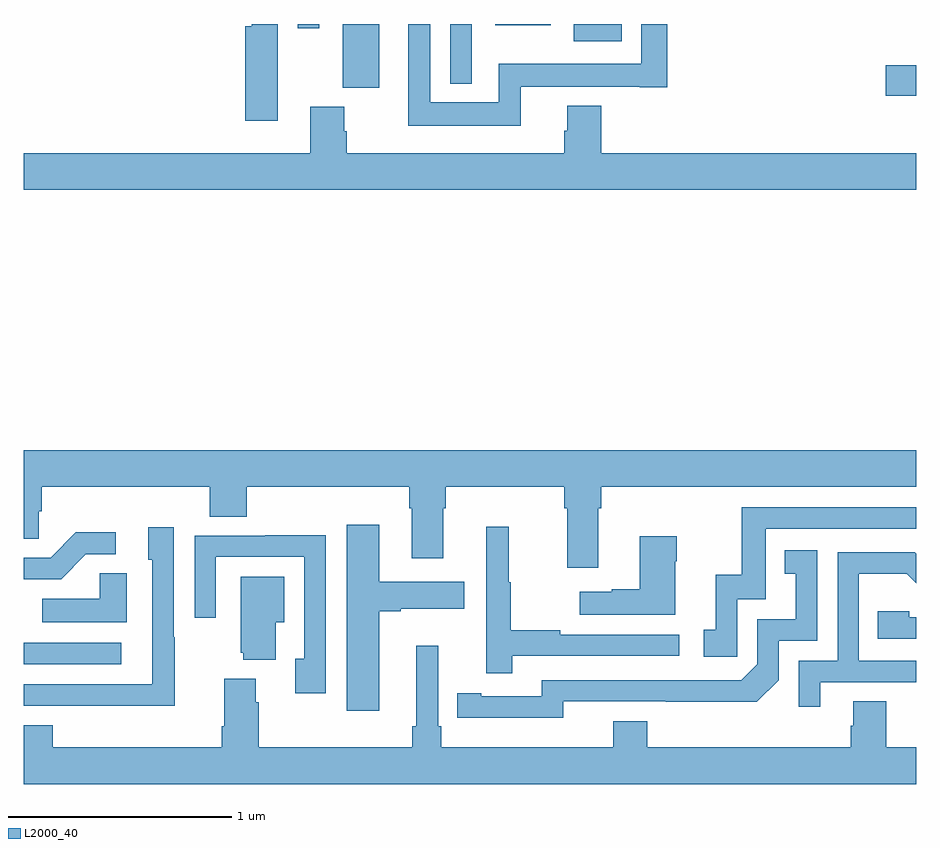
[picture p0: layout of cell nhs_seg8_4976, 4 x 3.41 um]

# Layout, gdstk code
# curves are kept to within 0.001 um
import gdstk
lib = gdstk.Library(unit=1e-6, precision=1e-09)
def R(c, l, rs):  # rectangles x0, y0, x1, y1
    for r in rs: c.add(gdstk.rectangle(r[:2], r[2:], *l))
def P(c, l, *ps):  # polygons
    for p in ps: c.add(gdstk.Polygon(p, *l))
L2000_40 = (2000, 40)

nhs_seg8_4976 = lib.new_cell('nhs_seg8_4976')
R(nhs_seg8_4976, L2000_40, [(411,1125.03,411.436,1125.126), (414.864,1127.579,415,1127.714), (412.43,1127.614,412.594,1127.9), (412.911,1127.633,413.007,1127.9), (413.465,1127.822,413.68,1127.9), (412.227,1127.88,412.323,1127.9), (413.114,1127.894,413.362,1127.9)])
P(nhs_seg8_4976, L2000_40, [(413.228,1127.618),(413.762,1127.618),(413.762,1127.616),(413.885,1127.616),(413.885,1127.9),(413.769,1127.9),(413.769,1127.722),(413.13,1127.722),(413.13,1127.548),(412.821,1127.548),(412.821,1127.9),(412.724,1127.9),(412.724,1127.444),(413.228,1127.444)],
  [(412.138,1127.786),(412.137,1127.786),(412.137,1127.9),(412.021,1127.9),(412.021,1127.89),(411.992,1127.89),(411.992,1127.466),(412.138,1127.466)],
  [(415,1127.32),(413.588,1127.32),(413.588,1127.533),(413.435,1127.533),(413.435,1127.421),(413.423,1127.421),(413.423,1127.32),(412.448,1127.32),(412.448,1127.42),(412.435,1127.42),(412.435,1127.529),(412.283,1127.529),(412.283,1127.32),(411,1127.32),(411,1127.156),(415,1127.156)],
  [(413.575,1125.728),(413.588,1125.728),(413.588,1125.824),(415,1125.824),(415,1125.988),(411,1125.988),(411,1125.592),(411.066,1125.592),(411.066,1125.715),(411.08,1125.715),(411.08,1125.824),(411.833,1125.824),(411.833,1125.691),(411.998,1125.691),(411.998,1125.824),(412.727,1125.824),(412.727,1125.728),(412.739,1125.728),(412.739,1125.504),(412.879,1125.504),(412.879,1125.728),(412.892,1125.728),(412.892,1125.824),(413.423,1125.824),(413.423,1125.728),(413.435,1125.728),(413.435,1125.462),(413.575,1125.462)],
  [(414.198,1125.321),(414.327,1125.321),(414.327,1125.636),(415,1125.636),(415,1125.732),(414.219,1125.732),(414.219,1125.43),(414.101,1125.43),(414.101,1125.183),(414.048,1125.183),(414.048,1125.063),(414.198,1125.063)],
  [(412.594,1125.266),(412.69,1125.266),(412.69,1125.278),(412.975,1125.278),(412.975,1125.4),(412.594,1125.4),(412.594,1125.655),(412.448,1125.655),(412.448,1124.82),(412.594,1124.82)],
  [(413.189,1125.066),(413.938,1125.066),(413.938,1125.162),(413.405,1125.162),(413.405,1125.182),(413.182,1125.182),(413.182,1125.396),(413.174,1125.396),(413.174,1125.646),(413.073,1125.646),(413.073,1124.988),(413.189,1124.988)],
  [(411.675,1125.149),(411.672,1125.149),(411.672,1125.643),(411.557,1125.643),(411.557,1125.498),(411.576,1125.498),(411.576,1124.94),(411,1124.94),(411,1124.844),(411.211,1124.844),(411.211,1124.843),(411.675,1124.843)],
  [(411.277,1125.522),(411.412,1125.522),(411.412,1125.62),(411.233,1125.62),(411.12,1125.507),(411,1125.507),(411,1125.411),(411.166,1125.411)],
  [(412.353,1125.608),(412.081,1125.608),(412.081,1125.606),(411.765,1125.606),(411.765,1125.237),(411.861,1125.237),(411.861,1125.51),(412.257,1125.51),(412.257,1125.054),(412.217,1125.054),(412.217,1124.898),(412.353,1124.898)],
  [(413.92,1125.491),(413.928,1125.491),(413.928,1125.604),(413.762,1125.604),(413.762,1125.365),(413.636,1125.365),(413.636,1125.355),(413.493,1125.355),(413.493,1125.251),(413.92,1125.251)],
  [(413.418,1124.862),(414.286,1124.861),(414.384,1124.958),(414.384,1125.135),(414.558,1125.135),(414.558,1125.541),(414.412,1125.541),(414.412,1125.435),(414.461,1125.435),(414.461,1125.231),(414.288,1125.231),(414.288,1125.03),(414.216,1124.958),(413.322,1124.958),(413.322,1124.886),(413.05,1124.886),(413.05,1124.899),(412.942,1124.899),(412.942,1124.79),(413.418,1124.789)],
  [(414.571,1124.949),(415,1124.949),(415,1125.045),(414.744,1125.045),(414.744,1125.434),(414.958,1125.434),(415,1125.392),(415,1125.525),(414.994,1125.531),(414.648,1125.531),(414.648,1125.045),(414.474,1125.045),(414.474,1124.838),(414.571,1124.838)],
  [(411.46,1125.437),(411.339,1125.437),(411.339,1125.322),(411.082,1125.322),(411.082,1125.218),(411.46,1125.218)],
  [(412.129,1125.218),(412.168,1125.218),(412.168,1125.421),(411.971,1125.421),(411.971,1125.081),(411.983,1125.081),(411.983,1125.05),(412.129,1125.05)],
  [(415,1125.24),(414.969,1125.24),(414.969,1125.267),(414.829,1125.267),(414.829,1125.144),(415,1125.144)],
  [(415,1124.656),(414.867,1124.656),(414.867,1124.864),(414.719,1124.864),(414.719,1124.754),(414.707,1124.754),(414.707,1124.656),(413.795,1124.656),(413.795,1124.773),(413.642,1124.773),(413.642,1124.656),(412.871,1124.656),(412.871,1124.752),(412.857,1124.752),(412.857,1125.112),(412.76,1125.112),(412.76,1124.752),(412.741,1124.752),(412.741,1124.656),(412.052,1124.656),(412.052,1124.858),(412.039,1124.858),(412.039,1124.965),(411.899,1124.965),(411.899,1124.752),(411.887,1124.752),(411.887,1124.656),(411.128,1124.656),(411.128,1124.755),(411,1124.755),(411,1124.492),(415,1124.492)])

lib.write_gds('nhs_seg8_4976.gds')
